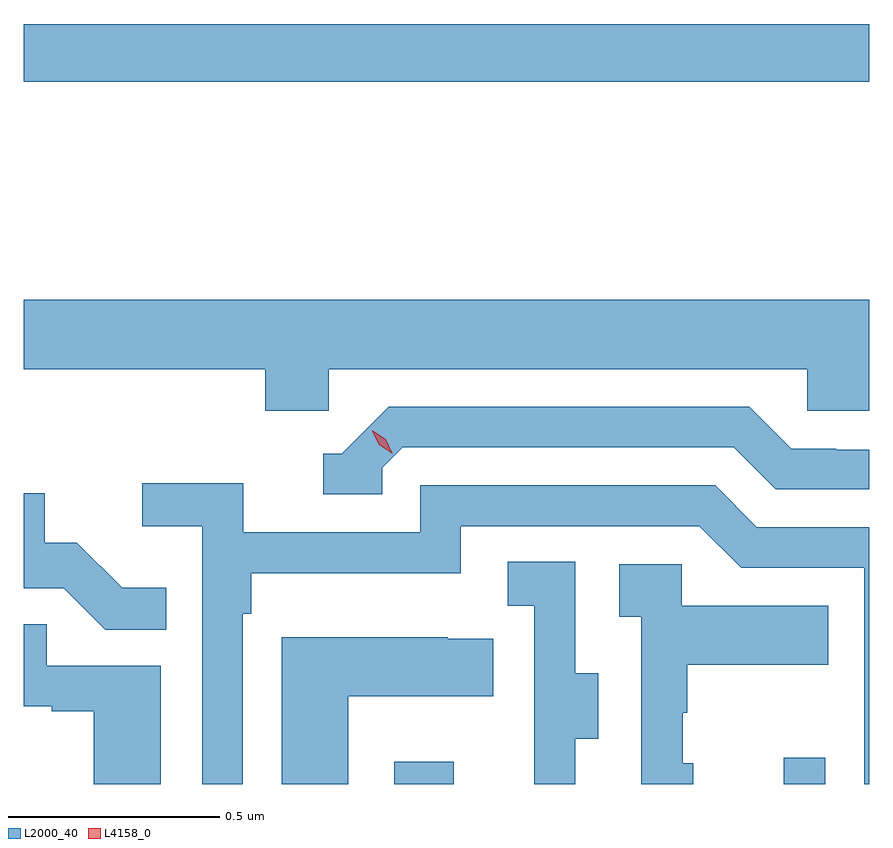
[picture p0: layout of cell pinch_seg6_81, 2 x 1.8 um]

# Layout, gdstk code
import gdstk
lib = gdstk.Library(unit=1e-6, precision=1e-09)
def R(c, l, rs):  # rectangles x0, y0, x1, y1
    for r in rs: c.add(gdstk.rectangle(r[:2], r[2:], *l))
def P(c, l, *ps):  # polygons
    for p in ps: c.add(gdstk.Polygon(p, *l))
L2000_40 = (2000, 40)
L4158_0 = (4158, 0)

pinch_seg6_81 = lib.new_cell('pinch_seg6_81')
R(pinch_seg6_81, L2000_40, [(925.739,929.039,925.879,929.092), (926.66,929.039,926.757,929.101), (924.862,930.7,926.862,930.836)])
P(pinch_seg6_81, L2000_40, [(925.584,930.02),(926.715,930.02),(926.715,929.922),(926.862,929.922),(926.862,930.184),(924.862,930.184),(924.862,930.02),(925.433,930.02),(925.433,929.922),(925.584,929.922)],
  [(925.71,929.787),(925.758,929.835),(926.541,929.835),(926.64,929.736),(926.862,929.736),(926.862,929.829),(926.784,929.829),(926.784,929.832),(926.677,929.832),(926.578,929.931),(925.725,929.931),(925.614,929.82),(925.571,929.82),(925.571,929.724),(925.71,929.724)],
  [(925.38,929.441),(925.4,929.441),(925.4,929.537),(925.896,929.537),(925.896,929.649),(926.46,929.649),(926.559,929.55),(926.85,929.55),(926.85,929.039),(926.862,929.039),(926.862,929.646),(926.596,929.646),(926.497,929.745),(925.8,929.745),(925.8,929.634),(925.382,929.634),(925.382,929.75),(925.143,929.75),(925.143,929.648),(925.284,929.648),(925.284,929.039),(925.38,929.039)],
  [(925.199,929.503),(925.095,929.503),(924.988,929.61),(924.912,929.61),(924.912,929.727),(924.862,929.727),(924.862,929.502),(924.957,929.502),(925.055,929.404),(925.199,929.404)],
  [(926.167,929.146),(926.221,929.146),(926.221,929.301),(926.166,929.301),(926.166,929.564),(926.007,929.564),(926.007,929.461),(926.07,929.461),(926.07,929.157),(926.069,929.157),(926.069,929.039),(926.167,929.039)],
  [(926.446,929.088),(926.421,929.088),(926.421,929.207),(926.431,929.207),(926.431,929.321),(926.765,929.321),(926.765,929.461),(926.418,929.461),(926.418,929.559),(926.271,929.559),(926.271,929.435),(926.322,929.435),(926.322,929.039),(926.446,929.039)],
  [(925.186,929.319),(924.917,929.319),(924.917,929.417),(924.862,929.417),(924.862,929.223),(924.929,929.223),(924.929,929.211),(925.028,929.211),(925.028,929.039),(925.186,929.039)],
  [(925.63,929.246),(925.973,929.246),(925.973,929.383),(925.865,929.383),(925.865,929.386),(925.472,929.386),(925.472,929.039),(925.63,929.039)])
P(pinch_seg6_81, L4158_0, [(925.733,929.821),(925.703,929.841),(925.687,929.873),(925.687,929.874),(925.688,929.874),(925.718,929.854),(925.734,929.821),(925.734,929.821)])

lib.write_gds('pinch_seg6_81.gds')
